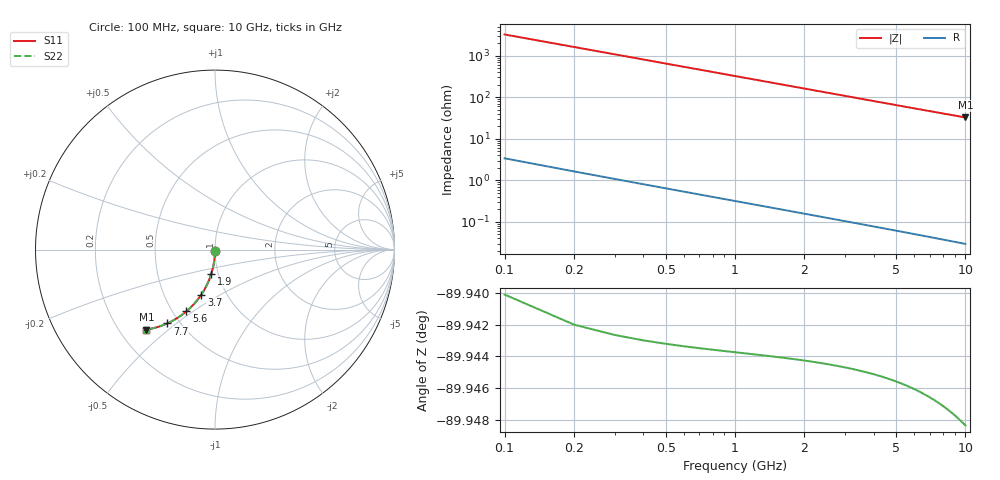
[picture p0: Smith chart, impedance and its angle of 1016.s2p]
# Hz S RI R 50.00
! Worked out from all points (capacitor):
!   100 points, 100 MHz to 10 GHz, reference 50 ohm
!   read as one part in shunt: C = 491 fF near 100 MHz
!   lowest |Z| = 32.7 ohm at 10 GHz (marker M1)
!   S11 on the Smith chart (normalised r, x): 100 MHz: 1.00, -0.01; 1.9 GHz: 0.92, -0.26; 3.7 GHz: 0.76, -0.41; 5.6 GHz: 0.58, -0.47; 7.7 GHz: 0.43, -0.46; 10 GHz: 0.31, -0.42
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1e8  3.3e-05 -0.00732  0.9998 -0.00811  0.9998 -0.00811  3.3e-05 -0.00732
2e8  -0.000152 -0.0146  0.9996 -0.0162  0.9996 -0.0162  -0.000152 -0.0146
3e8  -0.000456 -0.022  0.9993 -0.0243  0.9993 -0.0243  -0.000456 -0.022
4e8  -0.000878 -0.0293  0.9989 -0.0324  0.9989 -0.0324  -0.000878 -0.0293
5e8  -0.00142 -0.0366  0.9984 -0.0405  0.9984 -0.0405  -0.00142 -0.0366
6e8  -0.00208 -0.0439  0.9977 -0.0486  0.9977 -0.0486  -0.00208 -0.0439
8e8  -0.00375 -0.0584  0.996 -0.0647  0.996 -0.0647  -0.00375 -0.0584
1.1e9  -0.00712 -0.08  0.9926 -0.0886  0.9926 -0.0886  -0.00712 -0.08
1.4e9  -0.0115 -0.1014  0.9882 -0.1124  0.9882 -0.1124  -0.0115 -0.1014
1.8e9  -0.019 -0.1294  0.9807 -0.1435  0.9807 -0.1435  -0.019 -0.1294
1.9e9  -0.0211 -0.1363  0.9786 -0.1512  0.9786 -0.1512  -0.0211 -0.1363
2.2e9  -0.0281 -0.1567  0.9715 -0.174  0.9715 -0.174  -0.0281 -0.1567
2.6e9  -0.0389 -0.1831  0.9607 -0.2036  0.9607 -0.2036  -0.0389 -0.1831
3.4e9  -0.0649 -0.233  0.9345 -0.2598  0.9345 -0.2598  -0.0649 -0.233
3.7e9  -0.076 -0.2505  0.9233 -0.2797  0.9233 -0.2797  -0.076 -0.2505
4.4e9  -0.1045 -0.2886  0.8947 -0.3233  0.8947 -0.3233  -0.1045 -0.2886
5.1e9  -0.1359 -0.3225  0.8631 -0.3629  0.8631 -0.3629  -0.1359 -0.3225
5.6e9  -0.1597 -0.3442  0.8391 -0.3886  0.8391 -0.3886  -0.1597 -0.3442
6.7e9  -0.2147 -0.384  0.7836 -0.4374  0.7836 -0.4374  -0.2147 -0.384
7.7e9  -0.2663 -0.4113  0.7316 -0.4728  0.7316 -0.4728  -0.2663 -0.4113
8.4e9  -0.3024 -0.4257  0.6951 -0.493  0.6951 -0.493  -0.3024 -0.4257
1e10  -0.3825 -0.4455  0.614 -0.5262  0.614 -0.5262  -0.3825 -0.4455
